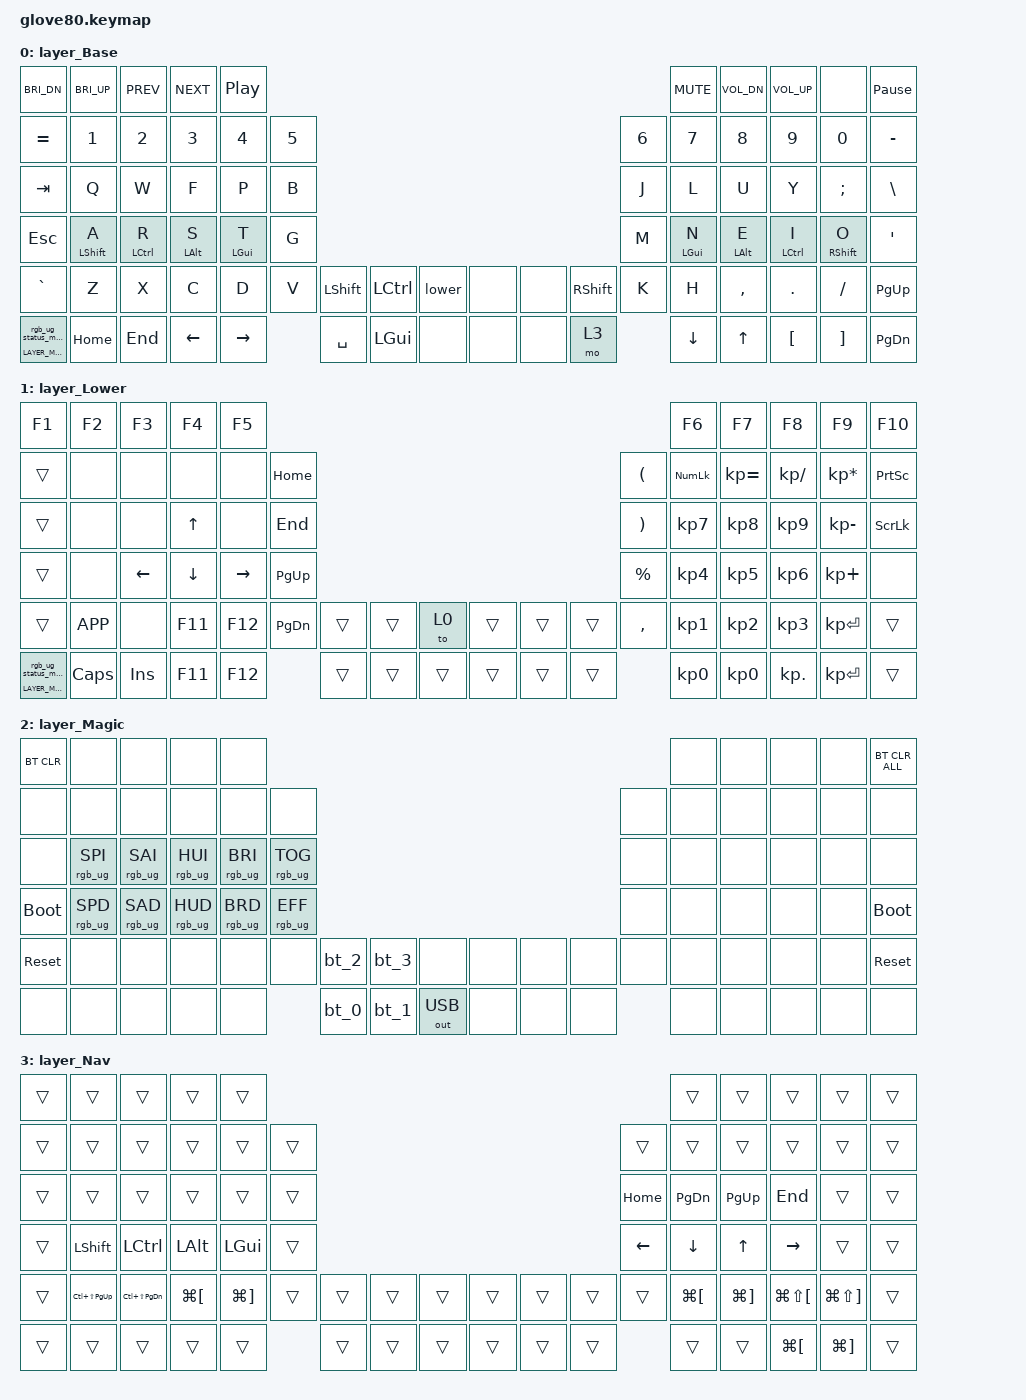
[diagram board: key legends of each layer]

/*
 * Copyright (c) 2020 The ZMK Contributors
 * Copyright (c) 2023 Innaworks Development Limited, trading as MoErgo
 *
 * SPDX-License-Identifier: MIT
 */


/* THIS FILE WAS GENERATED BY GLOVE80 LAYOUT EDITOR
 *
 * This file was generated automatically. You may or may not want to
 * edit it directly.
 */

#include <behaviors.dtsi>
/* Include all behaviour includes needed */
#include <dt-bindings/zmk/outputs.h>
#include <dt-bindings/zmk/keys.h>
#include <dt-bindings/zmk/bt.h>
#include <dt-bindings/zmk/rgb.h>

/* Automatically generated layer name #define */
#define LAYER_Base 0
#define LAYER_Lower 1
#define LAYER_Magic 2
#define LAYER_Nav 3

/* To deal with the situation where there is no Lower layer, to keep &lower happy */
#ifndef LAYER_Lower
#define LAYER_Lower 0
#endif

/* Extra mods */

#define HYPER(x) LS(LC(LA(LG(x))))

/* Generic macros */

#define ZMK_HELPER_STRINGIFY(x) #x

/* ZMK_BEHAVIOR */

#define ZMK_BEHAVIOR_CORE_caps_word       compatible = "zmk,behavior-caps-word";       #binding-cells = <0>
#define ZMK_BEHAVIOR_CORE_dynamic_macro   compatible = "zmk,behavior-dynamic-macro";   #binding-cells = <1>
#define ZMK_BEHAVIOR_CORE_hold_tap        compatible = "zmk,behavior-hold-tap";        #binding-cells = <2>
#define ZMK_BEHAVIOR_CORE_key_repeat      compatible = "zmk,behavior-key-repeat";      #binding-cells = <0>
#define ZMK_BEHAVIOR_CORE_macro           compatible = "zmk,behavior-macro";           #binding-cells = <0>
#define ZMK_BEHAVIOR_CORE_macro_one_param compatible = "zmk,behavior-macro-one-param"; #binding-cells = <1>
#define ZMK_BEHAVIOR_CORE_macro_two_param compatible = "zmk,behavior-macro-two-param"; #binding-cells = <2>
#define ZMK_BEHAVIOR_CORE_mod_morph       compatible = "zmk,behavior-mod-morph";       #binding-cells = <0>
#define ZMK_BEHAVIOR_CORE_sticky_key      compatible = "zmk,behavior-sticky-key";      #binding-cells = <1>
#define ZMK_BEHAVIOR_CORE_tap_dance       compatible = "zmk,behavior-tap-dance";       #binding-cells = <0>
#define ZMK_BEHAVIOR_CORE_tri_state       compatible = "zmk,behavior-tri-state";       #binding-cells = <0>

#define ZMK_BEHAVIOR(name, type, ...) \
    / { \
        behaviors { \
            name: name { \
                ZMK_BEHAVIOR_CORE_ ## type; \
                __VA_ARGS__ \
            }; \
        }; \
    };

/* Glove80 system behavior & macros */
/ {
    behaviors {
        // For the "layer" key, it'd nice to be able to use it as either a shift or a toggle.
        // Configure it as a tap dance, so the first tap (or hold) is a &mo and the second tap is a &to
        lower: lower {
            compatible = "zmk,behavior-tap-dance";
            label = "LAYER_TAP_DANCE";
            #binding-cells = <0>;
            tapping-term-ms = <200>;
            bindings = <&mo LAYER_Lower>, <&to LAYER_Lower>;
        };
    };
};

/ {
    macros {
        rgb_ug_status_macro: rgb_ug_status_macro {
            label = "RGB_UG_STATUS";
            compatible = "zmk,behavior-macro";
            #binding-cells = <0>;
            bindings
                = <&rgb_ug RGB_STATUS>;
        };
    };
};


/ {
#ifdef BT_DISC_CMD
    behaviors {
        bt_0: bt_0 {
            compatible = "zmk,behavior-tap-dance";
            label = "BT_0";
            #binding-cells = <0>;
            tapping-term-ms = <200>;
            bindings = <&bt_select_0>, <&bt BT_DISC 0>;
        };
        bt_1: bt_1 {
            compatible = "zmk,behavior-tap-dance";
            label = "BT_1";
            #binding-cells = <0>;
            tapping-term-ms = <200>;
            bindings = <&bt_select_1>, <&bt BT_DISC 1>;
        };
        bt_2: bt_2 {
            compatible = "zmk,behavior-tap-dance";
            label = "BT_2";
            #binding-cells = <0>;
            tapping-term-ms = <200>;
            bindings = <&bt_select_2>, <&bt BT_DISC 2>;
        };
        bt_3: bt_3 {
            compatible = "zmk,behavior-tap-dance";
            label = "BT_3";
            #binding-cells = <0>;
            tapping-term-ms = <200>;
            bindings = <&bt_select_3>, <&bt BT_DISC 3>;
        };
    };
    macros {
        bt_select_0: bt_select_0 {
            label = "BT_SELECT_0";
            compatible = "zmk,behavior-macro";
            #binding-cells = <0>;
            bindings
                = <&out OUT_BLE>,
                  <&bt BT_SEL 0>;
        };
        bt_select_1: bt_select_1 {
            label = "BT_SELECT_1";
            compatible = "zmk,behavior-macro";
            #binding-cells = <0>;
            bindings
                = <&out OUT_BLE>,
                  <&bt BT_SEL 1>;
        };
        bt_select_2: bt_select_2 {
            label = "BT_SELECT_2";
            compatible = "zmk,behavior-macro";
            #binding-cells = <0>;
            bindings
                = <&out OUT_BLE>,
                  <&bt BT_SEL 2>;
        };
        bt_select_3: bt_select_3 {
            label = "BT_SELECT_3";
            compatible = "zmk,behavior-macro";
            #binding-cells = <0>;
            bindings
                = <&out OUT_BLE>,
                  <&bt BT_SEL 3>;
        };
    };
#else
    macros {
        bt_0: bt_0 {
            label = "BT_0";
            compatible = "zmk,behavior-macro";
            #binding-cells = <0>;
            bindings
                = <&out OUT_BLE>,
                  <&bt BT_SEL 0>;
        };
        bt_1: bt_1 {
            label = "BT_1";
            compatible = "zmk,behavior-macro";
            #binding-cells = <0>;
            bindings
                = <&out OUT_BLE>,
                  <&bt BT_SEL 1>;
        };
        bt_2: bt_2 {
            label = "BT_2";
            compatible = "zmk,behavior-macro";
            #binding-cells = <0>;
            bindings
                = <&out OUT_BLE>,
                  <&bt BT_SEL 2>;
        };
        bt_3: bt_3 {
            label = "BT_3";
            compatible = "zmk,behavior-macro";
            #binding-cells = <0>;
            bindings
                = <&out OUT_BLE>,
                  <&bt BT_SEL 3>;
        };
    };
#endif
};

/ {
    behaviors {
        magic: magic {
            compatible = "zmk,behavior-hold-tap";
            label = "MAGIC_HOLD_TAP";
            #binding-cells = <2>;
            flavor = "tap-preferred";
            tapping-term-ms = <200>;
            bindings = <&mo>, <&rgb_ug_status_macro>;
        };
    };
};

#define XXX &none
#define ___ &trans

/* #define for key positions */
#define POS_LH_T1 52
#define POS_LH_T2 53
#define POS_LH_T3 54
#define POS_LH_T4 69
#define POS_LH_T5 70
#define POS_LH_T6 71
#define POS_LH_C1R2 15
#define POS_LH_C1R3 27
#define POS_LH_C1R4 39
#define POS_LH_C1R5 51
#define POS_LH_C2R1 4
#define POS_LH_C2R2 14
#define POS_LH_C2R3 26
#define POS_LH_C2R4 38
#define POS_LH_C2R5 50
#define POS_LH_C2R6 68
#define POS_LH_C3R1 3
#define POS_LH_C3R2 13
#define POS_LH_C3R3 25
#define POS_LH_C3R4 37
#define POS_LH_C3R5 49
#define POS_LH_C3R6 67
#define POS_LH_C4R1 2
#define POS_LH_C4R2 12
#define POS_LH_C4R3 24
#define POS_LH_C4R4 36
#define POS_LH_C4R5 48
#define POS_LH_C4R6 66
#define POS_LH_C5R1 1
#define POS_LH_C5R2 11
#define POS_LH_C5R3 23
#define POS_LH_C5R4 35
#define POS_LH_C5R5 47
#define POS_LH_C5R6 65
#define POS_LH_C6R1 0
#define POS_LH_C6R2 10
#define POS_LH_C6R3 22
#define POS_LH_C6R4 34
#define POS_LH_C6R5 46
#define POS_LH_C6R6 64
#define POS_RH_T1 57
#define POS_RH_T2 56
#define POS_RH_T3 55
#define POS_RH_T4 74
#define POS_RH_T5 73
#define POS_RH_T6 72
#define POS_RH_C1R2 16
#define POS_RH_C1R3 28
#define POS_RH_C1R4 40
#define POS_RH_C1R5 58
#define POS_RH_C2R1 5
#define POS_RH_C2R2 17
#define POS_RH_C2R3 29
#define POS_RH_C2R4 41
#define POS_RH_C2R5 59
#define POS_RH_C2R6 75
#define POS_RH_C3R1 6
#define POS_RH_C3R2 18
#define POS_RH_C3R3 30
#define POS_RH_C3R4 42
#define POS_RH_C3R5 60
#define POS_RH_C3R6 76
#define POS_RH_C4R1 7
#define POS_RH_C4R2 19
#define POS_RH_C4R3 31
#define POS_RH_C4R4 43
#define POS_RH_C4R5 61
#define POS_RH_C4R6 77
#define POS_RH_C5R1 8
#define POS_RH_C5R2 20
#define POS_RH_C5R3 32
#define POS_RH_C5R4 44
#define POS_RH_C5R5 62
#define POS_RH_C5R6 78
#define POS_RH_C6R1 9
#define POS_RH_C6R2 21
#define POS_RH_C6R3 33
#define POS_RH_C6R4 45
#define POS_RH_C6R5 63
#define POS_RH_C6R6 79

/* Combos */

#define COMBO_REQUIRE_PRIOR_IDLE_MS 120
#define COMBO_REQUIRE_PRIOR_IDLE_MS_SLOW 250
#define COMBO_TERM_FAST 50
#define COMBO_TERM_SLOW 80
#define COMBO_SAME_FINGER 100

#define ZMK_COMBO(name, combo_bindings, keypos, combo_layers, combo_timeout, prior_idle) \
    / { \
        combos { \
            compatible = "zmk,combos"; \
            combo_ ## name { \
                timeout-ms = <combo_timeout>; \
                bindings = <combo_bindings>; \
                key-positions = <keypos>; \
                layers = <combo_layers>; \
				require-prior-idle-ms = <prior_idle>; \
            }; \
        }; \
    };

ZMK_COMBO(esc       , &kp ESC       , POS_LH_C4R3 POS_LH_C3R3, LAYER_Base LAYER_Nav, COMBO_TERM_FAST, COMBO_REQUIRE_PRIOR_IDLE_MS)
ZMK_COMBO(bspc      , &kp BSPC      , POS_LH_C3R3 POS_LH_C2R3, LAYER_Base LAYER_Nav, COMBO_TERM_FAST, COMBO_REQUIRE_PRIOR_IDLE_MS)

ZMK_COMBO(at        , &kp AT        , POS_LH_C4R3 POS_LH_C4R4, LAYER_Base, COMBO_TERM_SLOW, COMBO_REQUIRE_PRIOR_IDLE_MS)
ZMK_COMBO(pound     , &kp POUND     , POS_LH_C3R3 POS_LH_C3R4, LAYER_Base, COMBO_TERM_SLOW, COMBO_REQUIRE_PRIOR_IDLE_MS)
ZMK_COMBO(dollar    , &kp DOLLAR    , POS_LH_C2R3 POS_LH_C2R4, LAYER_Base, COMBO_TERM_SLOW, COMBO_REQUIRE_PRIOR_IDLE_MS)
ZMK_COMBO(percent   , &kp PERCENT   , POS_LH_C1R3 POS_LH_C1R4, LAYER_Base, COMBO_TERM_SLOW, COMBO_REQUIRE_PRIOR_IDLE_MS)

ZMK_COMBO(tab       , &kp TAB       , POS_LH_C4R4 POS_LH_C3R4, LAYER_Base          , COMBO_TERM_FAST, COMBO_REQUIRE_PRIOR_IDLE_MS)
ZMK_COMBO(enter     , &kp ENTER     , POS_LH_C2R4 POS_LH_C1R4, LAYER_Base LAYER_Nav, COMBO_SAME_FINGER, COMBO_REQUIRE_PRIOR_IDLE_MS)

ZMK_COMBO(grave     , &kp GRAVE     , POS_LH_C4R4 POS_LH_C4R5, LAYER_Base, COMBO_TERM_SLOW, COMBO_REQUIRE_PRIOR_IDLE_MS)
ZMK_COMBO(backslash , &kp BACKSLASH , POS_LH_C3R4 POS_LH_C3R5, LAYER_Base, COMBO_TERM_SLOW, COMBO_REQUIRE_PRIOR_IDLE_MS)
ZMK_COMBO(equal     , &kp EQUAL     , POS_LH_C2R4 POS_LH_C2R5, LAYER_Base, COMBO_TERM_SLOW, COMBO_REQUIRE_PRIOR_IDLE_MS)
ZMK_COMBO(tilde     , &kp TILDE     , POS_LH_C1R4 POS_LH_C1R5, LAYER_Base, COMBO_TERM_SLOW, COMBO_REQUIRE_PRIOR_IDLE_MS)

ZMK_COMBO(cut       , &kp LG(X)     , POS_LH_C5R5 POS_LH_C4R5, LAYER_Base, COMBO_TERM_FAST, COMBO_REQUIRE_PRIOR_IDLE_MS)
ZMK_COMBO(copy      , &kp LG(C)     , POS_LH_C4R5 POS_LH_C3R5, LAYER_Base, COMBO_TERM_FAST, COMBO_REQUIRE_PRIOR_IDLE_MS)
ZMK_COMBO(paste     , &kp LG(V)     , POS_LH_C3R5 POS_LH_C2R5, LAYER_Base, COMBO_TERM_FAST, COMBO_REQUIRE_PRIOR_IDLE_MS)

ZMK_COMBO(bspc2     , &kp BSPC      , POS_RH_C2R3 POS_RH_C3R3, LAYER_Base LAYER_Nav, COMBO_TERM_FAST, COMBO_REQUIRE_PRIOR_IDLE_MS)
ZMK_COMBO(del       , &kp DEL       , POS_RH_C3R3 POS_RH_C4R3, LAYER_Base          , COMBO_TERM_FAST, COMBO_REQUIRE_PRIOR_IDLE_MS)

ZMK_COMBO(caret     , &kp CARET     , POS_RH_C1R3 POS_RH_C1R4, LAYER_Base, COMBO_TERM_SLOW, COMBO_REQUIRE_PRIOR_IDLE_MS)
ZMK_COMBO(plus      , &kp PLUS      , POS_RH_C2R3 POS_RH_C2R4, LAYER_Base, COMBO_TERM_SLOW, COMBO_REQUIRE_PRIOR_IDLE_MS)
ZMK_COMBO(astrk     , &kp ASTRK     , POS_RH_C3R3 POS_RH_C3R4, LAYER_Base, COMBO_TERM_SLOW, COMBO_REQUIRE_PRIOR_IDLE_MS)
ZMK_COMBO(amps      , &kp AMPS      , POS_RH_C4R3 POS_RH_C4R4, LAYER_Base, COMBO_TERM_SLOW, COMBO_REQUIRE_PRIOR_IDLE_MS)

ZMK_COMBO(enter2    , &kp ENTER     , POS_RH_C1R4 POS_RH_C2R4, LAYER_Base, COMBO_SAME_FINGER, COMBO_REQUIRE_PRIOR_IDLE_MS)

ZMK_COMBO(underscore, &kp UNDERSCORE, POS_RH_C1R4 POS_RH_C1R5, LAYER_Base, COMBO_TERM_SLOW, COMBO_REQUIRE_PRIOR_IDLE_MS)
ZMK_COMBO(minus     , &kp MINUS     , POS_RH_C2R4 POS_RH_C2R5, LAYER_Base, COMBO_TERM_SLOW, COMBO_REQUIRE_PRIOR_IDLE_MS)
ZMK_COMBO(slash     , &kp SLASH     , POS_RH_C3R4 POS_RH_C3R5, LAYER_Base, COMBO_TERM_SLOW, COMBO_REQUIRE_PRIOR_IDLE_MS)
ZMK_COMBO(pipe      , &kp PIPE      , POS_RH_C4R4 POS_RH_C4R5, LAYER_Base, COMBO_TERM_SLOW, COMBO_REQUIRE_PRIOR_IDLE_MS)


ZMK_COMBO(hyper_o   , &kp HYPER(O)  , POS_LH_C2R4 POS_RH_C2R4, LAYER_Base, COMBO_TERM_FAST, COMBO_REQUIRE_PRIOR_IDLE_MS_SLOW)
ZMK_COMBO(hyper_s   , &kp HYPER(S)  , POS_LH_C2R5 POS_RH_C2R5, LAYER_Base, COMBO_TERM_FAST, COMBO_REQUIRE_PRIOR_IDLE_MS_SLOW)

/* Homerow mods */

#define KEYS_L POS_LH_C1R2 POS_LH_C1R3 POS_LH_C1R4 POS_LH_C1R5 POS_LH_C2R1 POS_LH_C2R2 POS_LH_C2R3 POS_LH_C2R4 POS_LH_C2R5 POS_LH_C2R6 POS_LH_C3R1 POS_LH_C3R2 POS_LH_C3R3 POS_LH_C3R4 POS_LH_C3R5 POS_LH_C3R6 POS_LH_C4R1 POS_LH_C4R2 POS_LH_C4R3 POS_LH_C4R4 POS_LH_C4R5 POS_LH_C4R6 POS_LH_C5R1 POS_LH_C5R2 POS_LH_C5R3 POS_LH_C5R4 POS_LH_C5R5 POS_LH_C5R6 POS_LH_C6R1 POS_LH_C6R2 POS_LH_C6R3 POS_LH_C6R4 POS_LH_C6R5 POS_LH_C6R6
#define KEYS_R POS_RH_C1R2 POS_RH_C1R3 POS_RH_C1R4 POS_RH_C1R5 POS_RH_C2R1 POS_RH_C2R2 POS_RH_C2R3 POS_RH_C2R4 POS_RH_C2R5 POS_RH_C2R6 POS_RH_C3R1 POS_RH_C3R2 POS_RH_C3R3 POS_RH_C3R4 POS_RH_C3R5 POS_RH_C3R6 POS_RH_C4R1 POS_RH_C4R2 POS_RH_C4R3 POS_RH_C4R4 POS_RH_C4R5 POS_RH_C4R6 POS_RH_C5R1 POS_RH_C5R2 POS_RH_C5R3 POS_RH_C5R4 POS_RH_C5R5 POS_RH_C5R6 POS_RH_C6R1 POS_RH_C6R2 POS_RH_C6R3 POS_RH_C6R4 POS_RH_C6R5 POS_RH_C6R6
#define THUMBS POS_LH_T1 POS_LH_T2 POS_LH_T3 POS_LH_T4 POS_LH_T5 POS_LH_T6 POS_RH_T1 POS_RH_T2 POS_RH_T3 POS_RH_T4 POS_RH_T5 POS_RH_T6

#define QUICK_TAP_MS 175

#define MAKE_HRM(NAME, HOLD, TAP, TRIGGER_POS) \
    ZMK_BEHAVIOR(NAME, hold_tap, \
        flavor = "balanced"; \
        tapping-term-ms = <280>; \
        quick-tap-ms = <QUICK_TAP_MS>; \
        require-prior-idle-ms = <210>; \
        bindings = <HOLD>, <TAP>; \
        hold-trigger-key-positions = <TRIGGER_POS>; \
        hold-trigger-on-release; \
    )

MAKE_HRM(hml, &kp, &kp, KEYS_R THUMBS)  // left-hand HRMs
MAKE_HRM(hmr, &kp, &kp, KEYS_L THUMBS)  // right-hand HRMs

/ {
    keymap {
        compatible = "zmk,keymap";


        layer_Base {
            bindings = <
 &kp C_BRI_DN          &kp C_BRI_UP  &kp C_PREV   &kp C_NEXT   &kp C_PP                                                                                &kp C_MUTE   &kp C_VOL_DN  &kp C_VOL_UP  XXX          &kp PAUSE_BREAK
 &kp EQUAL             &kp N1        &kp N2       &kp N3       &kp N4       &kp N5                                                         &kp N6      &kp N7       &kp N8        &kp N9        &kp N0       &kp MINUS
 &kp TAB               &kp Q         &kp W        &kp F        &kp P        &kp B                                                          &kp J       &kp L        &kp U         &kp Y         &kp SEMI     &kp BSLH
 &kp ESC               &hml LSHFT A  &hml LCTRL R &hml LALT S  &hml LGUI T  &kp G                                                          &kp M       &hmr LGUI N  &hmr LALT E   &hmr LCTRL I  &hmr RSHFT O &kp SQT
 &kp GRAVE             &kp Z         &kp X        &kp C        &kp D        &kp V   &kp LSHFT  &kp LCTRL  &lower    XXX   XXX  &kp RSHFT   &kp K       &kp H        &kp COMMA     &kp DOT       &kp FSLH     &kp PG_UP
 &magic LAYER_Magic 0  &kp HOME      &kp END      &kp LEFT     &kp RIGHT            &kp SPACE  &kp LGUI   XXX       XXX   XXX  &mo 3                   &kp DOWN     &kp UP        &kp LBKT      &kp RBKT     &kp PG_DN
            >;
        };

        layer_Lower {
            bindings = <
 &kp F1               &kp F2        &kp F3          &kp F4         &kp F5                                                                           &kp F6      &kp F7        &kp F8        &kp F9           &kp F10
 ___                  XXX           XXX             XXX            XXX             &kp HOME                                   &kp LEFT_PARENTHESIS  &kp KP_NUM  &kp KP_EQUAL  &kp KP_SLASH  &kp KP_MULTIPLY  &kp PRINTSCREEN
 ___                  XXX           XXX             &kp UP_ARROW   XXX             &kp END                                    &kp RIGHT_PARENTHESIS &kp KP_N7   &kp KP_N8     &kp KP_N9     &kp KP_MINUS     &kp SCROLLLOCK
 ___                  XXX           &kp LEFT_ARROW  &kp DOWN_ARROW &kp RIGHT_ARROW &kp PG_UP                                  &kp PERCENT           &kp KP_N4   &kp KP_N5     &kp KP_N6     &kp KP_PLUS      XXX
 ___                  &kp K_APP     XXX             &kp F11        &kp F12         &kp PG_DN  ___  ___  &to 0  ___  ___  ___  &kp COMMA             &kp KP_N1   &kp KP_N2     &kp KP_N3     &kp KP_ENTER     ___
 &magic LAYER_Magic 0 &kp CAPS      &kp INS         &kp F11        &kp F12                    ___  ___  ___    ___  ___  ___                        &kp KP_N0   &kp KP_N0     &kp KP_DOT    &kp KP_ENTER     ___
            >;
        };

        layer_Magic {
            bindings = <
 &bt BT_CLR   XXX              XXX              XXX              XXX                                                                                    XXX   XXX   XXX   XXX  &bt BT_CLR_ALL
 XXX          XXX              XXX              XXX              XXX              XXX                                                             XXX   XXX   XXX   XXX   XXX  XXX
 XXX          &rgb_ug RGB_SPI  &rgb_ug RGB_SAI  &rgb_ug RGB_HUI  &rgb_ug RGB_BRI  &rgb_ug RGB_TOG                                                 XXX   XXX   XXX   XXX   XXX  XXX
 &bootloader  &rgb_ug RGB_SPD  &rgb_ug RGB_SAD  &rgb_ug RGB_HUD  &rgb_ug RGB_BRD  &rgb_ug RGB_EFF                                                 XXX   XXX   XXX   XXX   XXX  &bootloader
 &sys_reset   XXX              XXX              XXX              XXX              XXX              &bt_2   &bt_3  XXX           XXX   XXX   XXX   XXX   XXX   XXX   XXX   XXX  &sys_reset
 XXX          XXX              XXX              XXX              XXX                               &bt_0   &bt_1  &out OUT_USB  XXX   XXX   XXX         XXX   XXX   XXX   XXX  XXX
            >;
        };

        layer_Nav {
            bindings = <
 ___  ___                ___                ___           ___                                                             ___           ___           ___               ___               ___
 ___  ___                ___                ___           ___           ___                                      ___      ___           ___           ___               ___               ___
 ___  ___                ___                ___           ___           ___                                      &kp HOME &kp PG_DN     &kp PG_UP     &kp END           ___               ___
 ___  &kp LSHFT          &kp LCTRL          &kp LALT      &kp LGUI      ___                                      &kp LEFT &kp DOWN      &kp UP        &kp RIGHT         ___               ___
 ___  &kp LC(LS(PG_UP))  &kp LC(LS(PG_DN))  &kp LG(LBKT)  &kp LG(RBKT)  ___    ___  ___  ___  ___  ___  ___      ___      &kp LG(LBKT)  &kp LG(RBKT)  &kp LG(LS(LBKT))  &kp LG(LS(RBKT))  ___
 ___  ___                ___                ___           ___                  ___  ___  ___  ___  ___  ___               ___           ___           &kp LG(LBKT)      &kp LG(RBKT)      ___
            >;
        };
    };
};
